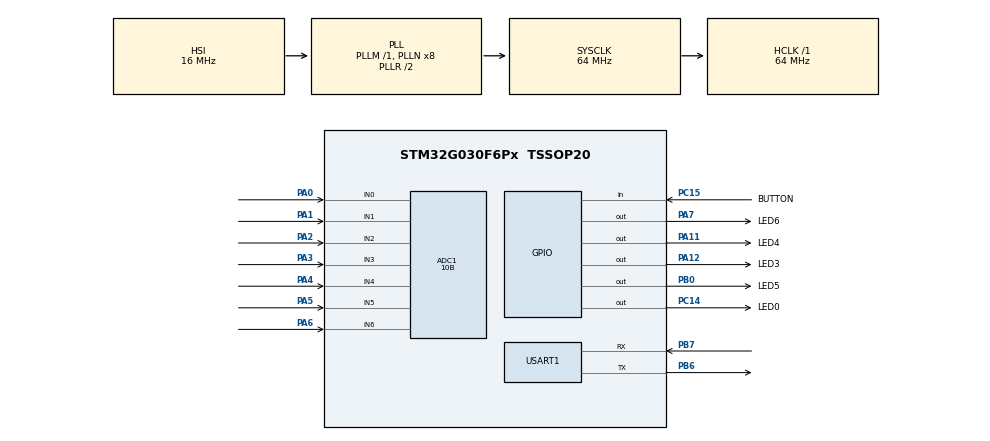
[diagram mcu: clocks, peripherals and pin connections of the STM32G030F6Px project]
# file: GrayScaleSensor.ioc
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ADC1.Channel-1\#ChannelRegularConversion=ADC_CHANNEL_0
ADC1.Channel-26\#ChannelRegularConversion=ADC_CHANNEL_1
ADC1.Channel-27\#ChannelRegularConversion=ADC_CHANNEL_2
ADC1.Channel-28\#ChannelRegularConversion=ADC_CHANNEL_3
ADC1.Channel-29\#ChannelRegularConversion=ADC_CHANNEL_4
ADC1.Channel-30\#ChannelRegularConversion=ADC_CHANNEL_5
ADC1.Channel-31\#ChannelRegularConversion=ADC_CHANNEL_6
ADC1.ContinuousConvMode=ENABLE
ADC1.DMAContinuousRequests=ENABLE
ADC1.EOCSelection=ADC_EOC_SINGLE_CONV
ADC1.EnableAnalogWatchDog1=false
ADC1.NbrOfConversion=7
ADC1.NbrOfConversionFlag=1
ADC1.Rank-1\#ChannelRegularConversion=1
ADC1.Rank-26\#ChannelRegularConversion=2
ADC1.Rank-27\#ChannelRegularConversion=3
ADC1.Rank-28\#ChannelRegularConversion=4
ADC1.Rank-29\#ChannelRegularConversion=5
ADC1.Rank-30\#ChannelRegularConversion=6
ADC1.Rank-31\#ChannelRegularConversion=7
ADC1.Resolution=ADC_RESOLUTION_10B
ADC1.SamplingTime-1\#ChannelRegularConversion=ADC_SAMPLINGTIME_COMMON_1
ADC1.SamplingTime-26\#ChannelRegularConversion=ADC_SAMPLINGTIME_COMMON_1
ADC1.SamplingTime-27\#ChannelRegularConversion=ADC_SAMPLINGTIME_COMMON_1
ADC1.SamplingTime-28\#ChannelRegularConversion=ADC_SAMPLINGTIME_COMMON_1
ADC1.SamplingTime-29\#ChannelRegularConversion=ADC_SAMPLINGTIME_COMMON_1
ADC1.SamplingTime-30\#ChannelRegularConversion=ADC_SAMPLINGTIME_COMMON_1
ADC1.SamplingTime-31\#ChannelRegularConversion=ADC_SAMPLINGTIME_COMMON_1
ADC1.SamplingTimeCommon1=ADC_SAMPLETIME_7CYCLES_5
ADC1.SamplingTimeCommon2=ADC_SAMPLETIME_7CYCLES_5
ADC1.SelectedChannel=ADC_CHANNEL_0|ADC_CHANNEL_1|ADC_CHANNEL_2|ADC_CHANNEL_3|ADC_CHANNEL_4|ADC_CHANNEL_5|ADC_CHANNEL_6
ADC1.master=1
Dma.ADC1.0.Direction=DMA_PERIPH_TO_MEMORY
Dma.ADC1.0.EventEnable=DISABLE
Dma.ADC1.0.Instance=DMA1_Channel5
Dma.ADC1.0.MemDataAlignment=DMA_MDATAALIGN_WORD
Dma.ADC1.0.MemInc=DMA_MINC_ENABLE
Dma.ADC1.0.Mode=DMA_CIRCULAR
Dma.ADC1.0.PeriphDataAlignment=DMA_PDATAALIGN_WORD
Dma.ADC1.0.PeriphInc=DMA_PINC_DISABLE
Dma.ADC1.0.Polarity=HAL_DMAMUX_REQ_GEN_RISING
Dma.ADC1.0.Priority=DMA_PRIORITY_HIGH
Dma.ADC1.0.RequestNumber=1
Dma.ADC1.0.SignalID=NONE
Dma.ADC1.0.SyncEnable=DISABLE
Dma.ADC1.0.SyncPolarity=HAL_DMAMUX_SYNC_NO_EVENT
Dma.ADC1.0.SyncRequestNumber=1
Dma.ADC1.0.SyncSignalID=NONE
Dma.Request0=ADC1
Dma.Request1=USART1_RX
Dma.Request2=USART1_TX
Dma.USART1_RX.1.Direction=DMA_PERIPH_TO_MEMORY
Dma.USART1_RX.1.EventEnable=DISABLE
Dma.USART1_RX.1.Instance=DMA1_Channel3
Dma.USART1_RX.1.MemDataAlignment=DMA_MDATAALIGN_BYTE
Dma.USART1_RX.1.MemInc=DMA_MINC_ENABLE
Dma.USART1_RX.1.Mode=DMA_NORMAL
Dma.USART1_RX.1.PeriphDataAlignment=DMA_PDATAALIGN_BYTE
Dma.USART1_RX.1.PeriphInc=DMA_PINC_DISABLE
Dma.USART1_RX.1.Polarity=HAL_DMAMUX_REQ_GEN_RISING
Dma.USART1_RX.1.Priority=DMA_PRIORITY_HIGH
Dma.USART1_RX.1.RequestNumber=1
Dma.USART1_RX.1.SignalID=NONE
Dma.USART1_RX.1.SyncEnable=DISABLE
Dma.USART1_RX.1.SyncPolarity=HAL_DMAMUX_SYNC_NO_EVENT
Dma.USART1_RX.1.SyncRequestNumber=1
Dma.USART1_RX.1.SyncSignalID=NONE
Dma.USART1_TX.2.Direction=DMA_MEMORY_TO_PERIPH
Dma.USART1_TX.2.EventEnable=DISABLE
Dma.USART1_TX.2.Instance=DMA1_Channel2
Dma.USART1_TX.2.MemDataAlignment=DMA_MDATAALIGN_BYTE
Dma.USART1_TX.2.MemInc=DMA_MINC_ENABLE
Dma.USART1_TX.2.Mode=DMA_NORMAL
Dma.USART1_TX.2.PeriphDataAlignment=DMA_PDATAALIGN_BYTE
Dma.USART1_TX.2.PeriphInc=DMA_PINC_DISABLE
Dma.USART1_TX.2.Polarity=HAL_DMAMUX_REQ_GEN_RISING
Dma.USART1_TX.2.Priority=DMA_PRIORITY_LOW
Dma.USART1_TX.2.RequestNumber=1
Dma.USART1_TX.2.SignalID=NONE
Dma.USART1_TX.2.SyncEnable=DISABLE
Dma.USART1_TX.2.SyncPolarity=HAL_DMAMUX_SYNC_NO_EVENT
Dma.USART1_TX.2.SyncRequestNumber=1
Dma.USART1_TX.2.SyncSignalID=NONE
Mcu.Family=STM32G0
Mcu.Name=STM32G030F6Px
Mcu.Package=TSSOP20
NVIC.DMA1_Ch4_5_DMAMUX1_OVR_IRQn=true\:0\:0\:false\:false\:true\:false\:true\:true
NVIC.DMA1_Channel2_3_IRQn=true\:0\:0\:false\:false\:true\:false\:true\:true
NVIC.USART1_IRQn=true\:0\:0\:false\:false\:true\:true\:true\:true
PA0.Mode=IN0
PA0.Signal=ADC1_IN0
PA1.Mode=IN1
PA1.Signal=ADC1_IN1
PA11\ [PA9].GPIO_Label=LED4
PA11\ [PA9].Signal=GPIO_Output
PA12\ [PA10].GPIO_Label=LED3
PA12\ [PA10].Signal=GPIO_Output
PA13.Mode=Serial_Wire
PA13.Signal=SYS_SWDIO
PA14-BOOT0.Mode=Serial_Wire
PA14-BOOT0.Signal=SYS_SWCLK
PA14-BOOT0__PA15.StandardMode=true
PA2.Mode=IN2
PA2.Signal=ADC1_IN2
PA3.Mode=IN3
PA3.Signal=ADC1_IN3
PA4.Mode=IN4
PA4.Signal=ADC1_IN4
PA5.Mode=IN5
PA5.Signal=ADC1_IN5
PA6.Mode=IN6
PA6.Signal=ADC1_IN6
PA7.GPIO_Label=LED6
PA7.Signal=GPIO_Output
PB0.GPIO_Label=LED5
PB0.Signal=GPIO_Output
PB0__PB1__PB2__PA8.StandardMode=true
PB3__PB4__PB5__PB6.StandardMode=true
PB6.Mode=Asynchronous
PB6.Signal=USART1_TX
PB7.Mode=Asynchronous
PB7.Signal=USART1_RX
PB7__PB8.StandardMode=true
PC14-OSC32_IN\ (PC14).GPIO_Label=LED0
PC14-OSC32_IN\ (PC14).PinState=GPIO_PIN_RESET
PC14-OSC32_IN\ (PC14).Signal=GPIO_Output
PC14-OSC32_IN\ (PC14)__PB9.StandardMode=true
PC15-OSC32_OUT\ (PC15).GPIO_Label=BUTTON
PC15-OSC32_OUT\ (PC15).GPIO_PuPd=GPIO_PULLUP
PC15-OSC32_OUT\ (PC15).Signal=GPIO_Input
ProjectManager.HeapSize=0x200
ProjectManager.StackSize=0x400
ProjectManager.TargetToolchain=MDK-ARM V5.32
RCC.ADCFreq_Value=64000000
RCC.AHBFreq_Value=64000000
RCC.CortexFreq_Value=64000000
RCC.EXTERNAL_CLOCK_VALUE=12288000
RCC.HCLKFreq_Value=64000000
RCC.HSE_VALUE=8000000
RCC.HSI_VALUE=16000000
RCC.LSE_VALUE=32768
RCC.SYSCLKFreq_VALUE=64000000
RCC.SYSCLKSource=RCC_SYSCLKSOURCE_PLLCLK
RCC.VCOOutputFreq_Value=128000000
USART1.VirtualMode-Asynchronous=VM_ASYNC
board=custom

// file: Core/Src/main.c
/* USER CODE BEGIN Header */
/**
 ******************************************************************************
 * @file           : main.c
 * @brief          : Main program body
 ******************************************************************************
 * @attention
 *
 * Copyright (c) 2022 STMicroelectronics.
 * All rights reserved.
 *
 * This software is licensed under terms that can be found in the LICENSE file
 * in the root directory of this software component.
 * If no LICENSE file comes with this software, it is provided AS-IS.
 *
 ******************************************************************************
 */
/* USER CODE END Header */
#include "main.h"
#include "adc.h"
#include "dma.h"
#include "usart.h"
#include "gpio.h"

/* USER CODE BEGIN Includes */
#include "led.h"
#include "button.h"
#include "photodiode.h"
#include "flash.h"
/* USER CODE END Includes */

/* USER CODE BEGIN PM */
Button_t ButtonFn;
extern uint8_t Loop_5msTime_Flag;   // 5ms轮询时间
extern uint8_t Loop_10msTime_Flag;  // 10ms轮询时间
extern uint8_t Loop_100msTime_Flag; // 100ms轮询时间
extern uint8_t Loop_500msTime_Flag; // 500ms轮询时间

/* USER CODE END PM */

void SystemClock_Config(void);
/* USER CODE BEGIN PFP */
uint8_t Read_ButtonFn_Level(void);

void ButtonFn_Dowm_CallBack(void *btn);

void ButtonFn_Double_CallBack(void *btn);

void ButtonFn_Long_CallBack(void *btn);
/* USER CODE END PFP */

int main(void)
{

    /* MCU Configuration--------------------------------------------------------*/

    /* Reset of all peripherals, Initializes the Flash interface and the Systick. */
    HAL_Init();

    /* Configure the system clock */
    SystemClock_Config();

    /* USER CODE BEGIN SysInit */
    MX_DMA_Init();

    /* USER CODE END SysInit */

    /* Initialize all configured peripherals */
    MX_GPIO_Init();
    MX_ADC1_Init();
    MX_DMA_Init();
    MX_USART1_UART_Init();
    /* USER CODE BEGIN 2 */
		DEBUG_PIN_Init();
    Button_Create("ButtonFn",          //按键名字
                  &ButtonFn,           //按键句柄
                  Read_ButtonFn_Level, //按键电平检测函数接口
                  GPIO_PIN_RESET);     //触发电平
    Button_Attach(&ButtonFn, BUTTON_DOWM, ButtonFn_Dowm_CallBack);
    Button_Attach(&ButtonFn, BUTTON_DOUBLE, ButtonFn_Double_CallBack);
    Button_Attach(&ButtonFn, BUTTON_LONG, ButtonFn_Long_CallBack);
    HAL_ADC_Start_DMA(&hadc1, adcValues, SENSOR_NUM);
    led_all_off();
    STMFLASH_Read(FLASH_SECTOR15_START, (uint32_t *)splitThresholds, sizeof(splitThresholds));

    /* USER CODE END 2 */

    /* Infinite loop */
    /* USER CODE BEGIN WHILE */
    while (1)
    {
        if (Loop_5msTime_Flag) // 5ms轮询
        {
            Loop_5msTime_Flag = 0; //清除标志位
            led_loop();
						if(Usart1_RX_Buf[0]==0x57)
						{
						    HAL_UART_Transmit_DMA(&huart1,&Sensor_TransData_Digital,1);
                Usart1_RX_Buf[0]=0;
						}
        }
        if (Loop_10msTime_Flag) // 10ms轮询
        {
            Loop_10msTime_Flag = 0; //清除标志位
        }
        if (Loop_100msTime_Flag) // 100ms轮询
        {
            Loop_100msTime_Flag = 0; //清除标志位
        }
        if (Loop_500msTime_Flag) // 500ms轮询
        {

            Loop_500msTime_Flag = 0; //清除标志位
        }
        /* USER CODE END WHILE */

    }
}

void SystemClock_Config(void)
{
    RCC_OscInitTypeDef RCC_OscInitStruct = {0};
    RCC_ClkInitTypeDef RCC_ClkInitStruct = {0};

    /** Configure the main internal regulator output voltage
     */
    HAL_PWREx_ControlVoltageScaling(PWR_REGULATOR_VOLTAGE_SCALE1);

    /** Initializes the RCC Oscillators according to the specified parameters
     * in the RCC_OscInitTypeDef structure.
     */
    RCC_OscInitStruct.OscillatorType      = RCC_OSCILLATORTYPE_HSI;
    RCC_OscInitStruct.HSIState            = RCC_HSI_ON;
    RCC_OscInitStruct.HSIDiv              = RCC_HSI_DIV1;
    RCC_OscInitStruct.HSICalibrationValue = RCC_HSICALIBRATION_DEFAULT;
    RCC_OscInitStruct.PLL.PLLState        = RCC_PLL_ON;
    RCC_OscInitStruct.PLL.PLLSource       = RCC_PLLSOURCE_HSI;
    RCC_OscInitStruct.PLL.PLLM            = RCC_PLLM_DIV1;
    RCC_OscInitStruct.PLL.PLLN            = 8;
    RCC_OscInitStruct.PLL.PLLP            = RCC_PLLP_DIV2;
    RCC_OscInitStruct.PLL.PLLR            = RCC_PLLR_DIV2;
    if (HAL_RCC_OscConfig(&RCC_OscInitStruct) != HAL_OK)
    {
        Error_Handler();
    }

    /** Initializes the CPU, AHB and APB buses clocks
     */
    RCC_ClkInitStruct.ClockType      = RCC_CLOCKTYPE_HCLK | RCC_CLOCKTYPE_SYSCLK | RCC_CLOCKTYPE_PCLK1;
    RCC_ClkInitStruct.SYSCLKSource   = RCC_SYSCLKSOURCE_PLLCLK;
    RCC_ClkInitStruct.AHBCLKDivider  = RCC_SYSCLK_DIV1;
    RCC_ClkInitStruct.APB1CLKDivider = RCC_HCLK_DIV1;

    if (HAL_RCC_ClockConfig(&RCC_ClkInitStruct, FLASH_LATENCY_2) != HAL_OK)
    {
        Error_Handler();
    }
}

/* USER CODE BEGIN 4 */
uint8_t Read_ButtonFn_Level(void)
{
    return HAL_GPIO_ReadPin(BUTTON_GPIO_Port, BUTTON_Pin);
}

void ButtonFn_Dowm_CallBack(void *btn)
{
}

void ButtonFn_Double_CallBack(void *btn)
{
    if (Sensor_Mode == SENSOR_MODE_RUN)
    {
        photodiode_clear_calibration();
        Sensor_Mode = SENSOR_MODE_CALIBRATE;
    }
    else if (Sensor_Mode == SENSOR_MODE_CALIBRATE)
    {
        Sensor_Mode = SENSOR_MODE_RUN;
        STMFLASH_Write(FLASH_SECTOR15_START, (uint32_t *)splitThresholds, (sizeof(splitThresholds) >> 2));
    }
}

void ButtonFn_Long_CallBack(void *btn)
{
    HAL_DeInit();
}
/* USER CODE END 4 */

void Error_Handler(void)
{
    __disable_irq();
    while (1)
    {
    }
}
